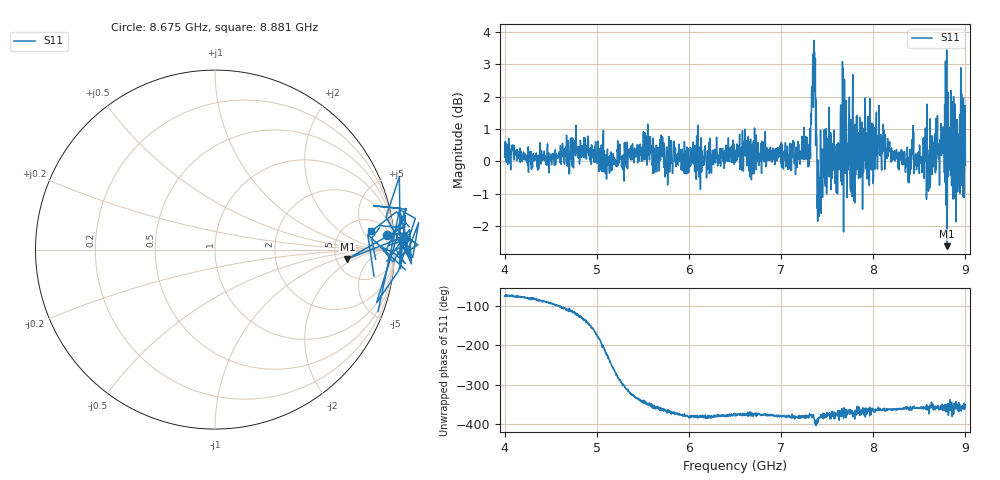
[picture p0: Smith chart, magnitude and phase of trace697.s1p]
! Created with skrf 1.8.0 (http://scikit-rf.org).
# Hz S RI R 50.0
!freq ReS11 ImS11
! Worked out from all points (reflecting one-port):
!   1601 points, 4 GHz to 9 GHz, reference 50 ohm
!   lowest |S11| = -2.6 dB at 8.803 GHz (marker M1), VSWR 6.67, Z = 316 - j73.4 ohm
!   phase of S11 starts at -74 deg and turns -277 deg over the sweep
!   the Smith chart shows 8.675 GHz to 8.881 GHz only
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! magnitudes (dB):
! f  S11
! 4 GHz  0.1
! 4.625 GHz  0.2
! 5.25 GHz  0.5
! 5.572 GHz  0.0
! 5.625 GHz  0.0
! 5.709 GHz  0.1
! 5.753 GHz  -0.2
! 5.875 GHz  0.0
! 6.5 GHz  0.3
! 7.125 GHz  0.1
! 7.294 GHz  -0.2
! 7.356 GHz  3.7
! 7.412 GHz  -1.7
! 7.466 GHz  -0.5
! 7.609 GHz  0.2
! 7.647 GHz  1.7
! 7.688 GHz  2.5
! 7.7 GHz  1.6
! 7.75 GHz  -0.5
! 8.05 GHz  0.8
! 8.375 GHz  0.0
! 8.559 GHz  0.0
! 8.612 GHz  -0.8
! 8.675 GHz  -0.4
! 8.803 GHz  -2.6
! 8.875 GHz  0.7
! 8.959 GHz  2.1
! 9 GHz  -0.1
